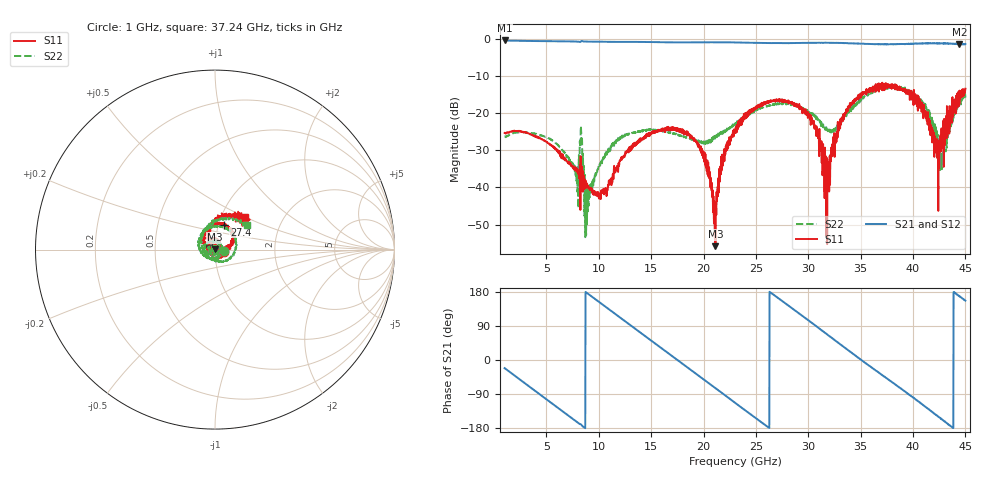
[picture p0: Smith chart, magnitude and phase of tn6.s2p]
!Keysight Technologies,N5247B,MY61255062,A.19.80.06
!Date: Tuesday, May 26, 2026 11:14:47
!Correction: S11(C  2-Port  )
!S21(C  2-Port  )
!S12(C  2-Port  )
!S22(C  2-Port  )
!S2P File: Measurements: S11, S21, S12, S22:
# Hz S  dB  R 50
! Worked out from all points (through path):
!   1601 points, 1 GHz to 45 GHz, reference 50 ohm
!   highest |S21| = -0.48 dB at 1 GHz (marker M1); lowest = -1.6 dB at 44.42 GHz (marker M2)
!   group delay of S21, straight-line fit = 56.8 ps
!   lowest |S11| = -55.8 dB at 21.13 GHz (marker M3), VSWR 1.00, Z = 49.9 + j0.134 ohm
!   |S11| at or under -10 dB: start of sweep to end of sweep
!   |S22| runs from -53.4 to -12.8 dB; largest |S21 - S12| = 0.017
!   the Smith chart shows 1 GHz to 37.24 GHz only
!   S11 on the Smith chart (normalised r, x): 1 GHz: 1.11, -0.03; 27.4 GHz: 1.07, +0.30; 37.24 GHz: 1.29, +0.50
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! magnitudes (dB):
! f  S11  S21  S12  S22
! 1 GHz  -25.4  -0.5  -0.5  -26.3
! 5.207 GHz  -28.2  -0.7  -0.7  -26.8
! 7.82 GHz  -35.4  -0.8  -0.8  -34.7
! 8.342 GHz  -34.3  -0.6  -0.6  -27.9
! 8.92 GHz  -39.4  -0.8  -0.8  -39.9
! 11.81 GHz  -35.0  -0.9  -0.9  -27.5
! 15.69 GHz  -24.5  -0.9  -0.9  -24.9
! 19.34 GHz  -28.0  -1.0  -1.0  -27.4
! 21.13 GHz  -55.8  -1.0  -1.0  -26.3
! 21.82 GHz  -34.2  -1.0  -1.0  -25.6
! 23 GHz  -24.6  -1.0  -1.0  -23.3
! 27.4 GHz  -16.6  -1.2  -1.2  -17.3
! 30.34 GHz  -21.3  -1.1  -1.1  -20.0
! 31.77 GHz  -34.9  -1.1  -1.1  -24.8
! 33.75 GHz  -19.5  -1.2  -1.2  -20.1
! 37.24 GHz  -12.1  -1.5  -1.5  -13.0
! 37.69 GHz  -12.9  -1.5  -1.5  -12.9
! 40.77 GHz  -17.4  -1.3  -1.3  -17.1
! 42.3 GHz  -32.1  -1.2  -1.2  -28.9
! 42.8 GHz  -25.5  -1.3  -1.3  -32.6
! 44.42 GHz  -17.7  -1.6  -1.4  -17.1
! 45 GHz  -13.5  -1.4  -1.5  -15.8
